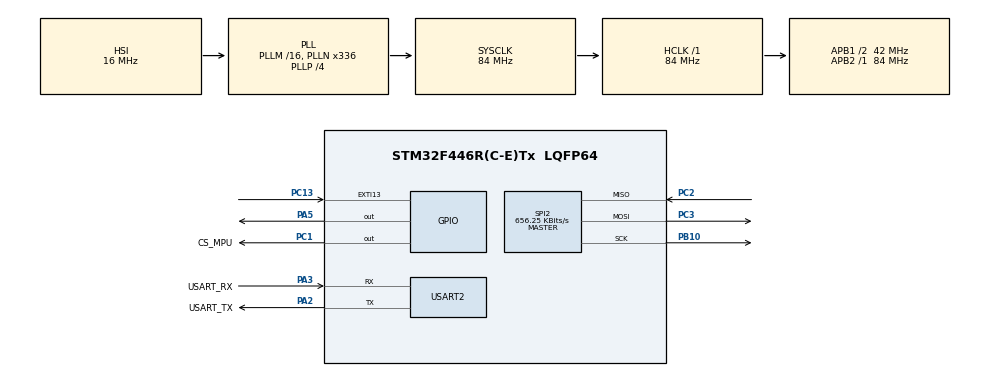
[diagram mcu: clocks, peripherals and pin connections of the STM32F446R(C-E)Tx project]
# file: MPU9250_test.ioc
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Mcu.Family=STM32F4
Mcu.Name=STM32F446R(C-E)Tx
Mcu.Package=LQFP64
NUCLEO-F446RE.BUTTON=1
NUCLEO-F446RE.LD1=true
NVIC.EXTI15_10_IRQn=true\:0\:0\:false\:false\:true\:false\:true\:true
NVIC.PriorityGroup=NVIC_PRIORITYGROUP_0
PA13.GPIO_Label=TMS
PA13.Signal=SYS_JTMS-SWDIO
PA14.GPIO_Label=TCK
PA14.Signal=SYS_JTCK-SWCLK
PA2.GPIO_Label=USART_TX
PA2.Mode=Asynchronous
PA2.Signal=USART2_TX
PA3.GPIO_Label=USART_RX
PA3.Mode=Asynchronous
PA3.Signal=USART2_RX
PA5.Signal=GPIO_Output
PB10.Mode=Full_Duplex_Master
PB10.Signal=SPI2_SCK
PB3.GPIO_Label=SWO
PB3.Signal=SYS_JTDO-SWO
PC1.GPIO_Label=CS_MPU
PC1.PinState=GPIO_PIN_SET
PC1.Signal=GPIO_Output
PC13.Signal=GPXTI13
PC14-OSC32_IN.Signal=RCC_OSC32_IN
PC15-OSC32_OUT.Signal=RCC_OSC32_OUT
PC2.Mode=Full_Duplex_Master
PC2.Signal=SPI2_MISO
PC3.Mode=Full_Duplex_Master
PC3.Signal=SPI2_MOSI
PH0-OSC_IN.Signal=RCC_OSC_IN
PH1-OSC_OUT.Signal=RCC_OSC_OUT
ProjectManager.HeapSize=0x200
ProjectManager.StackSize=0x400
ProjectManager.TargetToolchain=STM32CubeIDE
RCC.AHBFreq_Value=84000000
RCC.APB1CLKDivider=RCC_HCLK_DIV2
RCC.APB1Freq_Value=42000000
RCC.APB1TimFreq_Value=84000000
RCC.APB2Freq_Value=84000000
RCC.APB2TimFreq_Value=84000000
RCC.CortexFreq_Value=84000000
RCC.FLatency-AdvancedSettings=FLASH_LATENCY_2
RCC.HCLKFreq_Value=84000000
RCC.HSE_VALUE=8000000
RCC.HSI_VALUE=16000000
RCC.LSE_VALUE=32768
RCC.PLLN=336
RCC.PLLP=RCC_PLLP_DIV4
RCC.SYSCLKFreq_VALUE=84000000
RCC.SYSCLKSource=RCC_SYSCLKSOURCE_PLLCLK
RCC.USBFreq_Value=168000000
RCC.VCOOutputFreq_Value=336000000
SPI2.BaudRatePrescaler=SPI_BAUDRATEPRESCALER_64
SPI2.CalculateBaudRate=656.25 KBits/s
SPI2.Direction=SPI_DIRECTION_2LINES
SPI2.Mode=SPI_MODE_MASTER
SPI2.VirtualType=VM_MASTER
USART2.VirtualMode=VM_ASYNC
VP_NUCLEO-F446RE_VS_BSP_COMMON.Mode=COMMON
board=NUCLEO-F446RE

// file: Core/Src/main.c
/* USER CODE BEGIN Header */
/**
  ******************************************************************************
  * @file           : main.c
  * @brief          : Main program body
  ******************************************************************************
  * @attention
  *
  * Copyright (c) 2026 STMicroelectronics.
  * All rights reserved.
  *
  * This software is licensed under terms that can be found in the LICENSE file
  * in the root directory of this software component.
  * If no LICENSE file comes with this software, it is provided AS-IS.
  *
  ******************************************************************************
  */
/* USER CODE END Header */
#include "main.h"

/* USER CODE BEGIN Includes */
#include "MPU9250.h"
#include "sensor_data.h"
#include <stdio.h>
#include <string.h>
/* USER CODE END Includes */

SPI_HandleTypeDef hspi2;

UART_HandleTypeDef huart2;

void SystemClock_Config(void);
static void MX_GPIO_Init(void);
static void MX_SPI2_Init(void);
static void MX_USART2_UART_Init(void);

/* USER CODE BEGIN 0 */

int __io_putchar(int ch)
{
    HAL_UART_Transmit(&huart2, (uint8_t *)&ch, 1, HAL_MAX_DELAY);
    return ch;
}
/* USER CODE END 0 */

int main(void)
{

  /* MCU Configuration--------------------------------------------------------*/

  /* Reset of all peripherals, Initializes the Flash interface and the Systick. */
  HAL_Init();

  /* Configure the system clock */
  SystemClock_Config();

  /* Initialize all configured peripherals */
  MX_GPIO_Init();
  MX_SPI2_Init();
  MX_USART2_UART_Init();
  /* USER CODE BEGIN 2 */

  uint8_t chip_id;
  HAL_StatusTypeDef status;

  printf("\r\n========== DIRECT MPU SPI TEST ==========\r\n");

  status = MPU9250_DirectWhoAmI(&chip_id);

  if (status == HAL_OK)
  {
      printf("DIRECT WHO_AM_I: 0x%02X\r\n", chip_id);

      if (chip_id == 0x71)
      {
          printf("RESULT: MPU9250 DETECTED\r\n");
      }
      else if (chip_id == 0x70)
      {
          printf("RESULT: MPU6500 DETECTED\r\n");
      }
      else
      {
          printf("RESULT: UNKNOWN DEVICE / SPI PROBLEM\r\n");
      }
  }
  else
  {
      printf("DIRECT SPI TRANSACTION FAILED\r\n");
  }

  printf("=========================================\r\n\r\n");

 /* if (MPU9250_Init() == HAL_OK)
  {
      printf("MPU INIT OK\r\n");
  }
  else
  {
      printf("MPU INIT FAILED\r\n");
  }*/

  uint8_t mag_who;
  uint8_t mag_cntl1;
  uint8_t mag_st1;
  uint8_t mag_st2;

  int16_t mag_x;
  int16_t mag_y;
  int16_t mag_z;

  printf("\r\n========== MAGNETOMETER DIAGNOSTIC ==========\r\n");

  if (MPU9250_MagDiagnostic(&mag_who,
                            &mag_cntl1,
                            &mag_st1,
                            &mag_st2,
                            &mag_x,
                            &mag_y,
                            &mag_z) == HAL_OK)
  {
      printf("AK8963 WHO_AM_I : 0x%02X\r\n", mag_who);
      printf("AK8963 CNTL1    : 0x%02X\r\n", mag_cntl1);
      printf("AK8963 ST1      : 0x%02X\r\n", mag_st1);

      printf("MAG X           : %d\r\n", mag_x);
      printf("MAG Y           : %d\r\n", mag_y);
      printf("MAG Z           : %d\r\n", mag_z);

      printf("AK8963 ST2      : 0x%02X\r\n", mag_st2);

      printf("==============================================\r\n\r\n");
  }
  else
  {
      printf("MAGNETOMETER DIAGNOSTIC FAILED\r\n");
  }

  /* USER CODE END 2 */

  /* Initialize leds */
  BSP_LED_Init(LED2);

  /* Initialize USER push-button, will be used to trigger an interrupt each time it's pressed.*/
  BSP_PB_Init(BUTTON_USER, BUTTON_MODE_EXTI);

  /* Infinite loop */
  while (1)
  {

    /* USER CODE BEGIN 3 */
	    uint8_t chip_id;

	    if (MPU9250_DirectWhoAmI(&chip_id) == HAL_OK)
	    {
	        printf("WHO_AM_I = 0x%02X\r\n", chip_id);
	    }
	    else
	    {
	        printf("SPI READ FAILED\r\n");
	    }

	    HAL_Delay(1000);
  }
  /* USER CODE END 3 */
}

void SystemClock_Config(void)
{
  RCC_OscInitTypeDef RCC_OscInitStruct = {0};
  RCC_ClkInitTypeDef RCC_ClkInitStruct = {0};

  /** Configure the main internal regulator output voltage
  */
  __HAL_RCC_PWR_CLK_ENABLE();
  __HAL_PWR_VOLTAGESCALING_CONFIG(PWR_REGULATOR_VOLTAGE_SCALE3);

  /** Initializes the RCC Oscillators according to the specified parameters
  * in the RCC_OscInitTypeDef structure.
  */
  RCC_OscInitStruct.OscillatorType = RCC_OSCILLATORTYPE_HSI;
  RCC_OscInitStruct.HSIState = RCC_HSI_ON;
  RCC_OscInitStruct.HSICalibrationValue = RCC_HSICALIBRATION_DEFAULT;
  RCC_OscInitStruct.PLL.PLLState = RCC_PLL_ON;
  RCC_OscInitStruct.PLL.PLLSource = RCC_PLLSOURCE_HSI;
  RCC_OscInitStruct.PLL.PLLM = 16;
  RCC_OscInitStruct.PLL.PLLN = 336;
  RCC_OscInitStruct.PLL.PLLP = RCC_PLLP_DIV4;
  RCC_OscInitStruct.PLL.PLLQ = 2;
  RCC_OscInitStruct.PLL.PLLR = 2;
  if (HAL_RCC_OscConfig(&RCC_OscInitStruct) != HAL_OK)
  {
    Error_Handler();
  }

  /** Initializes the CPU, AHB and APB buses clocks
  */
  RCC_ClkInitStruct.ClockType = RCC_CLOCKTYPE_HCLK|RCC_CLOCKTYPE_SYSCLK
                              |RCC_CLOCKTYPE_PCLK1|RCC_CLOCKTYPE_PCLK2;
  RCC_ClkInitStruct.SYSCLKSource = RCC_SYSCLKSOURCE_PLLCLK;
  RCC_ClkInitStruct.AHBCLKDivider = RCC_SYSCLK_DIV1;
  RCC_ClkInitStruct.APB1CLKDivider = RCC_HCLK_DIV2;
  RCC_ClkInitStruct.APB2CLKDivider = RCC_HCLK_DIV1;

  if (HAL_RCC_ClockConfig(&RCC_ClkInitStruct, FLASH_LATENCY_2) != HAL_OK)
  {
    Error_Handler();
  }
}

static void MX_SPI2_Init(void)
{

  /* SPI2 parameter configuration*/
  hspi2.Instance = SPI2;
  hspi2.Init.Mode = SPI_MODE_MASTER;
  hspi2.Init.Direction = SPI_DIRECTION_2LINES;
  hspi2.Init.DataSize = SPI_DATASIZE_8BIT;
  hspi2.Init.CLKPolarity = SPI_POLARITY_LOW;
  hspi2.Init.CLKPhase = SPI_PHASE_1EDGE;
  hspi2.Init.NSS = SPI_NSS_SOFT;
  hspi2.Init.BaudRatePrescaler = SPI_BAUDRATEPRESCALER_64;
  hspi2.Init.FirstBit = SPI_FIRSTBIT_MSB;
  hspi2.Init.TIMode = SPI_TIMODE_DISABLE;
  hspi2.Init.CRCCalculation = SPI_CRCCALCULATION_DISABLE;
  hspi2.Init.CRCPolynomial = 10;
  if (HAL_SPI_Init(&hspi2) != HAL_OK)
  {
    Error_Handler();
  }

}

static void MX_USART2_UART_Init(void)
{

  huart2.Instance = USART2;
  huart2.Init.BaudRate = 115200;
  huart2.Init.WordLength = UART_WORDLENGTH_8B;
  huart2.Init.StopBits = UART_STOPBITS_1;
  huart2.Init.Parity = UART_PARITY_NONE;
  huart2.Init.Mode = UART_MODE_TX_RX;
  huart2.Init.HwFlowCtl = UART_HWCONTROL_NONE;
  huart2.Init.OverSampling = UART_OVERSAMPLING_16;
  if (HAL_UART_Init(&huart2) != HAL_OK)
  {
    Error_Handler();
  }

}

static void MX_GPIO_Init(void)
{
  GPIO_InitTypeDef GPIO_InitStruct = {0};

  /* GPIO Ports Clock Enable */
  __HAL_RCC_GPIOC_CLK_ENABLE();
  __HAL_RCC_GPIOH_CLK_ENABLE();
  __HAL_RCC_GPIOA_CLK_ENABLE();
  __HAL_RCC_GPIOB_CLK_ENABLE();

  /*Configure GPIO pin Output Level */
  HAL_GPIO_WritePin(CS_MPU_GPIO_Port, CS_MPU_Pin, GPIO_PIN_SET);

  /*Configure GPIO pin : CS_MPU_Pin */
  GPIO_InitStruct.Pin = CS_MPU_Pin;
  GPIO_InitStruct.Mode = GPIO_MODE_OUTPUT_PP;
  GPIO_InitStruct.Pull = GPIO_NOPULL;
  GPIO_InitStruct.Speed = GPIO_SPEED_FREQ_LOW;
  HAL_GPIO_Init(CS_MPU_GPIO_Port, &GPIO_InitStruct);

}

void Error_Handler(void)
{
  __disable_irq();
  while (1)
  {
  }
}
